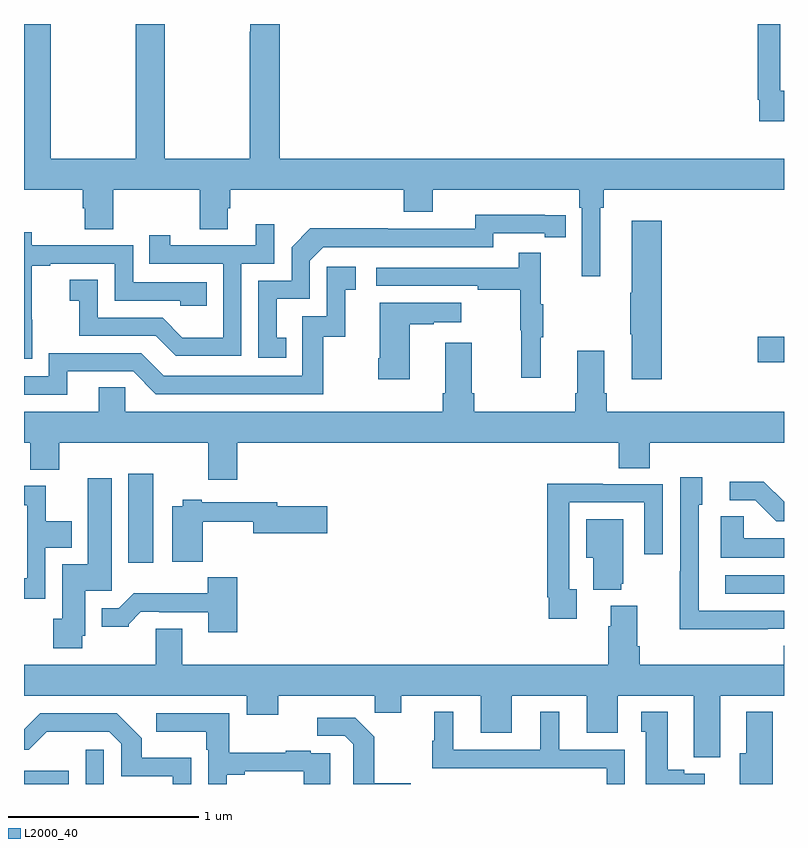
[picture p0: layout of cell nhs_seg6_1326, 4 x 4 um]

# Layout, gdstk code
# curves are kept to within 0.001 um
import gdstk
lib = gdstk.Library(unit=1e-6, precision=1e-09)
def R(c, l, rs):  # rectangles x0, y0, x1, y1
    for r in rs: c.add(gdstk.rectangle(r[:2], r[2:], *l))
def P(c, l, *ps):  # polygons
    for p in ps: c.add(gdstk.Polygon(p, *l))
L2000_40 = (2000, 40)

nhs_seg6_1326 = lib.new_cell('nhs_seg6_1326')
R(nhs_seg6_1326, L2000_40, [(191,985.5,191.236,985.57), (191.325,985.5,191.421,985.681), (194.691,986.502,195,986.598), (191.549,986.664,191.68,987.133), (194.862,987.719,195,987.854)])
P(nhs_seg6_1326, L2000_40, [(195,989.15),(194.979,989.15),(194.979,989.5),(194.863,989.5),(194.863,989.101),(194.871,989.101),(194.871,988.989),(195,988.989)],
  [(192.347,989.5),(192.191,989.5),(192.191,989.459),(192.187,989.459),(192.187,988.792),(191.742,988.792),(191.742,989.5),(191.587,989.5),(191.587,988.792),(191.142,988.792),(191.142,989.5),(191,989.5),(191,988.628),(191.309,988.628),(191.309,988.53),(191.321,988.53),(191.321,988.42),(191.469,988.42),(191.469,988.628),(191.926,988.628),(191.926,988.42),(192.073,988.42),(192.073,988.53),(192.086,988.53),(192.086,988.628),(192.998,988.628),(192.998,988.511),(193.15,988.511),(193.15,988.628),(193.922,988.628),(193.922,988.532),(193.935,988.532),(193.935,988.173),(194.032,988.173),(194.032,988.532),(194.051,988.532),(194.051,988.628),(195,988.628),(195,988.792),(192.347,988.792)],
  [(192.38,987.849),(192.331,987.849),(192.331,988.053),(192.504,988.053),(192.504,988.254),(192.576,988.326),(193.47,988.326),(193.47,988.398),(193.742,988.398),(193.742,988.378),(193.85,988.378),(193.85,988.494),(193.374,988.495),(193.374,988.422),(192.914,988.422),(192.914,988.424),(192.506,988.424),(192.408,988.326),(192.408,988.149),(192.234,988.149),(192.234,987.744),(192.38,987.744)],
  [(194.357,988.465),(194.198,988.465),(194.198,988.085),(194.191,988.085),(194.191,987.868),(194.198,987.868),(194.198,987.63),(194.357,987.63)],
  [(192.144,988.239),(192.318,988.239),(192.318,988.447),(192.221,988.447),(192.221,988.335),(191.77,988.335),(191.77,988.387),(191.659,988.387),(191.659,988.239),(192.048,988.239),(192.048,987.85),(191.834,987.85),(191.73,987.954),(191.388,987.954),(191.388,988.153),(191.241,988.153),(191.241,988.043),(191.29,988.043),(191.29,987.858),(191.693,987.858),(191.798,987.753),(192.144,987.753)],
  [(191.043,987.943),(191.042,987.943),(191.042,988.227),(191.137,988.227),(191.137,988.239),(191.478,988.239),(191.478,988.044),(191.823,988.044),(191.823,988.017),(191.963,988.017),(191.963,988.14),(191.574,988.14),(191.574,988.335),(191.04,988.335),(191.04,988.404),(191,988.404),(191,987.737),(191.043,987.737)],
  [(193.721,987.851),(193.732,987.851),(193.732,988.025),(193.721,988.025),(193.721,988.297),(193.603,988.297),(193.603,988.218),(192.855,988.218),(192.855,988.122),(193.387,988.122),(193.387,988.102),(193.611,988.102),(193.611,987.888),(193.618,987.888),(193.618,987.639),(193.721,987.639)],
  [(191.227,987.672),(191.574,987.672),(191.694,987.552),(192.574,987.552),(192.574,987.855),(192.692,987.855),(192.692,988.101),(192.745,988.101),(192.745,988.222),(192.594,988.222),(192.594,987.963),(192.465,987.963),(192.465,987.648),(191.736,987.648),(191.616,987.768),(191.13,987.768),(191.13,987.645),(191,987.645),(191,987.549),(191.227,987.549)],
  [(193.03,987.919),(193.157,987.919),(193.157,987.929),(193.3,987.929),(193.3,988.033),(192.872,988.033),(192.872,987.742),(192.865,987.742),(192.865,987.63),(193.03,987.63)],
  [(192.122,987.296),(194.129,987.296),(194.129,987.163),(194.294,987.163),(194.294,987.296),(195,987.296),(195,987.46),(194.066,987.46),(194.066,987.556),(194.053,987.556),(194.053,987.781),(193.913,987.781),(193.913,987.556),(193.901,987.556),(193.901,987.46),(193.37,987.46),(193.37,987.556),(193.357,987.556),(193.357,987.823),(193.217,987.823),(193.217,987.556),(193.205,987.556),(193.205,987.46),(191.532,987.46),(191.532,987.587),(191.393,987.587),(191.393,987.46),(191,987.46),(191,987.296),(191.033,987.296),(191.033,987.155),(191.186,987.155),(191.186,987.296),(191.969,987.296),(191.969,987.102),(192.122,987.102)],
  [(194.915,986.316),(195,986.316),(195,986.412),(194.55,986.412),(194.55,986.97),(194.569,986.97),(194.569,987.115),(194.454,987.115),(194.454,986.621),(194.452,986.621),(194.452,986.315),(194.915,986.315)],
  [(191.307,986.28),(191.323,986.28),(191.323,986.517),(191.461,986.517),(191.461,987.109),(191.336,987.109),(191.336,986.656),(191.201,986.656),(191.201,986.37),(191.155,986.37),(191.155,986.214),(191.307,986.214)],
  [(195,986.985),(194.893,987.092),(194.715,987.092),(194.715,986.994),(194.849,986.994),(194.96,986.883),(195,986.883)],
  [(193.909,986.526),(193.869,986.526),(193.869,986.982),(194.265,986.982),(194.265,986.709),(194.361,986.709),(194.361,987.078),(194.045,987.078),(194.045,987.08),(193.753,987.08),(193.753,986.482),(193.761,986.482),(193.761,986.37),(193.909,986.37)],
  [(191.112,986.744),(191.251,986.744),(191.251,986.884),(191.115,986.884),(191.115,987.07),(191,987.07),(191,986.966),(191.016,986.966),(191.016,986.583),(191,986.583),(191,986.475),(191.112,986.475)],
  [(191.942,986.881),(192.206,986.881),(192.206,986.819),(192.595,986.819),(192.595,986.961),(192.334,986.961),(192.334,986.982),(191.935,986.982),(191.935,986.995),(191.835,986.995),(191.835,986.962),(191.78,986.962),(191.78,986.669),(191.942,986.669)],
  [(195,986.794),(194.787,986.794),(194.787,986.909),(194.666,986.909),(194.666,986.69),(195,986.69)],
  [(194.144,986.553),(194.155,986.553),(194.155,986.893),(193.958,986.893),(193.958,986.69),(193.997,986.69),(193.997,986.522),(194.144,986.522)],
  [(192.122,986.587),(191.967,986.587),(191.967,986.503),(191.578,986.503),(191.499,986.424),(191.408,986.424),(191.408,986.327),(191.55,986.327),(191.55,986.342),(191.614,986.406),(191.713,986.406),(191.713,986.403),(191.969,986.403),(191.969,986.298),(192.122,986.298)],
  [(194.125,985.964),(194.525,985.964),(194.525,985.641),(194.665,985.641),(194.665,985.964),(195,985.964),(195,986.227),(194.999,986.227),(194.999,986.128),(194.24,986.128),(194.24,986.224),(194.227,986.224),(194.227,986.437),(194.087,986.437),(194.087,986.33),(194.075,986.33),(194.075,986.128),(191.833,986.128),(191.833,986.318),(191.693,986.318),(191.693,986.128),(191,986.128),(191,985.964),(192.173,985.964),(192.173,985.865),(192.337,985.865),(192.337,985.964),(192.847,985.964),(192.847,985.874),(192.985,985.874),(192.985,985.964),(193.403,985.964),(193.403,985.77),(193.567,985.77),(193.567,985.964),(193.961,985.964),(193.961,985.77),(194.125,985.77)],
  [(194.163,985.68),(193.816,985.68),(193.816,985.879),(193.718,985.879),(193.718,985.68),(193.258,985.68),(193.258,985.879),(193.16,985.879),(193.16,985.728),(193.149,985.728),(193.149,985.584),(194.067,985.584),(194.067,985.5),(194.163,985.5)],
  [(194.584,985.555),(194.475,985.555),(194.475,985.576),(194.389,985.576),(194.389,985.879),(194.249,985.879),(194.249,985.776),(194.273,985.776),(194.273,985.5),(194.584,985.5)],
  [(194.941,985.879),(194.801,985.879),(194.801,985.663),(194.768,985.663),(194.768,985.5),(194.941,985.5)],
  [(192.067,985.548),(192.163,985.548),(192.163,985.566),(192.473,985.566),(192.473,985.5),(192.613,985.5),(192.613,985.662),(192.509,985.662),(192.509,985.675),(192.377,985.675),(192.377,985.664),(192.079,985.664),(192.079,985.872),(191.697,985.872),(191.697,985.775),(191.958,985.775),(191.958,985.679),(191.97,985.679),(191.97,985.5),(192.067,985.5)],
  [(191.88,985.639),(191.619,985.639),(191.619,985.742),(191.488,985.872),(191.085,985.872),(191,985.787),(191,985.68),(191.025,985.68),(191.12,985.775),(191.448,985.776),(191.511,985.713),(191.511,985.542),(191.784,985.542),(191.784,985.5),(191.88,985.5)],
  [(193.035,985.504),(192.843,985.504),(192.843,985.749),(192.743,985.849),(192.543,985.849),(192.543,985.755),(192.687,985.755),(192.734,985.708),(192.734,985.613),(192.732,985.613),(192.732,985.5),(193.035,985.5)])

lib.write_gds('nhs_seg6_1326.gds')
